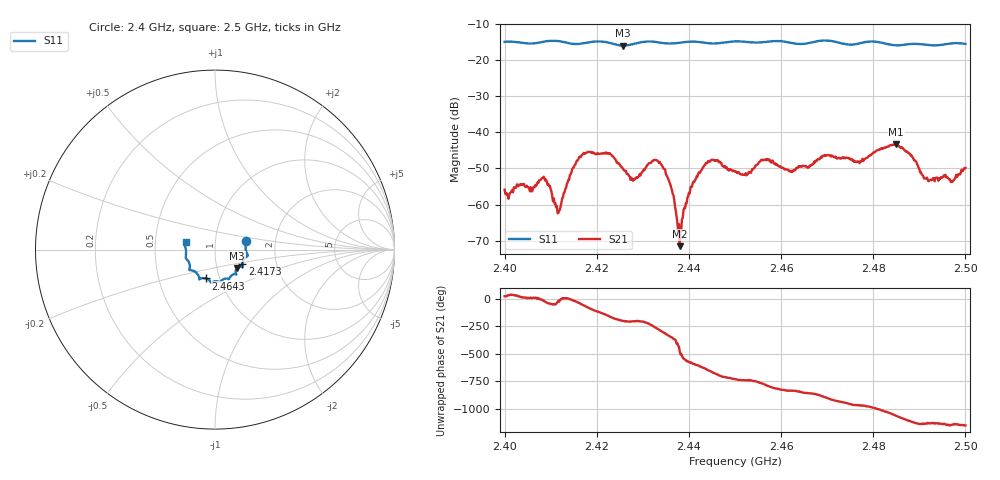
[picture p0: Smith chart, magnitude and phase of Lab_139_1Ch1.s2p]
# Hz S RI R 50
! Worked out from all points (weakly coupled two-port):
!   601 points, 2.4 GHz to 2.5 GHz, reference 50 ohm
!   highest |S21| = -43.33 dB at 2.485 GHz (marker M1); lowest = -71.5 dB at 2.438 GHz (marker M2)
!   lowest |S11| = -15.9 dB at 2.4257 GHz (marker M3), VSWR 1.38, Z = 62.5 - j13.1 ohm
!   |S11| at or under -10 dB: start of sweep to end of sweep
!   S12 and S22 are empty: the file has one direction only
!   S11 on the Smith chart (normalised r, x): 2.4 GHz: 1.41, +0.14; 2.4173 GHz: 1.34, -0.23; 2.4643 GHz: 0.86, -0.29; 2.5 GHz: 0.72, +0.06
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2.4e9  0.1735 0.0494  0.00147 0.000647  0 0  0 0
2.4085e9  0.18 -0.0251  0.00232 -0.000719  0 0  0 0
2.411667e9  0.1813 -0.036  0.000728 -0.000228  0 0  0 0
2.416667e9  0.1529 -0.0743  0.00305 -0.00365  0 0  0 0
2.417333e9  0.1524 -0.0818  0.00235 -0.00445  0 0  0 0
2.4225e9  0.149 -0.0942  -0.00461 -0.00231  0 0  0 0
2.425667e9  0.1228 -0.1023  -0.00295 0.00108  0 0  0 0
2.428167e9  0.1149 -0.1249  -0.00202 0.000889  0 0  0 0
2.433333e9  0.113 -0.1368  0.000371 0.00393  0 0  0 0
2.435833e9  0.0958 -0.1418  0.00186 0.000666  0 0  0 0
2.438e9  0.083 -0.1544  -0.000121 -0.000236  0 0  0 0
2.4405e9  0.0787 -0.1643  -0.00141 0.00108  0 0  0 0
2.443667e9  0.0658 -0.1609  0.000317 0.00375  0 0  0 0
2.45e9  0.0291 -0.1809  0.00282 -0.0005  0 0  0 0
2.456667e9  -0.0113 -0.1796  0.00201 -0.00374  0 0  0 0
2.464333e9  -0.0498 -0.1609  -0.00195 -0.00282  0 0  0 0
2.466667e9  -0.0759 -0.1598  -0.00274 -0.00232  0 0  0 0
2.477e9  -0.1264 -0.1163  -0.00144 0.00347  0 0  0 0
2.483333e9  -0.1405 -0.0901  0.00436 0.00464  0 0  0 0
2.485e9  -0.1444 -0.0723  0.00648 0.00209  0 0  0 0
2.491667e9  -0.1614 -0.0287  0.00143 -0.00187  0 0  0 0
2.5e9  -0.1636 0.042  0.00111 -0.00302  0 0  0 0
